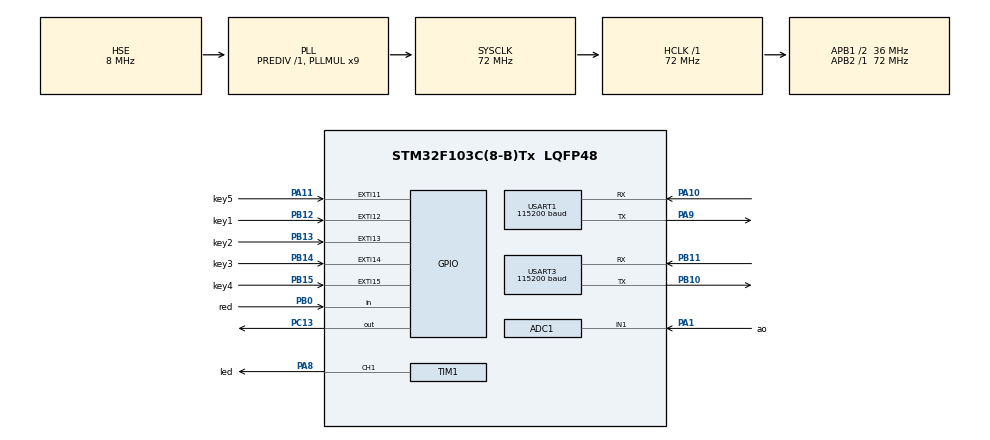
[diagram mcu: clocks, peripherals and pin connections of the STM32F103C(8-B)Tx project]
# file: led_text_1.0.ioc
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ADC1.Channel-0\#ChannelRegularConversion=ADC_CHANNEL_1
ADC1.ContinuousConvMode=DISABLE
ADC1.NbrOfConversionFlag=1
ADC1.Rank-0\#ChannelRegularConversion=1
ADC1.SamplingTime-0\#ChannelRegularConversion=ADC_SAMPLETIME_7CYCLES_5
ADC1.master=1
Dma.Request0=USART1_RX
Dma.Request1=USART1_TX
Dma.Request2=USART3_TX
Dma.Request3=USART3_RX
Dma.USART1_RX.0.Direction=DMA_PERIPH_TO_MEMORY
Dma.USART1_RX.0.Instance=DMA1_Channel5
Dma.USART1_RX.0.MemDataAlignment=DMA_MDATAALIGN_BYTE
Dma.USART1_RX.0.MemInc=DMA_MINC_ENABLE
Dma.USART1_RX.0.Mode=DMA_NORMAL
Dma.USART1_RX.0.PeriphDataAlignment=DMA_PDATAALIGN_BYTE
Dma.USART1_RX.0.PeriphInc=DMA_PINC_DISABLE
Dma.USART1_RX.0.Priority=DMA_PRIORITY_LOW
Dma.USART1_TX.1.Direction=DMA_MEMORY_TO_PERIPH
Dma.USART1_TX.1.Instance=DMA1_Channel4
Dma.USART1_TX.1.MemDataAlignment=DMA_MDATAALIGN_BYTE
Dma.USART1_TX.1.MemInc=DMA_MINC_ENABLE
Dma.USART1_TX.1.Mode=DMA_NORMAL
Dma.USART1_TX.1.PeriphDataAlignment=DMA_PDATAALIGN_BYTE
Dma.USART1_TX.1.PeriphInc=DMA_PINC_DISABLE
Dma.USART1_TX.1.Priority=DMA_PRIORITY_LOW
Dma.USART3_RX.3.Direction=DMA_PERIPH_TO_MEMORY
Dma.USART3_RX.3.Instance=DMA1_Channel3
Dma.USART3_RX.3.MemDataAlignment=DMA_MDATAALIGN_BYTE
Dma.USART3_RX.3.MemInc=DMA_MINC_ENABLE
Dma.USART3_RX.3.Mode=DMA_NORMAL
Dma.USART3_RX.3.PeriphDataAlignment=DMA_PDATAALIGN_BYTE
Dma.USART3_RX.3.PeriphInc=DMA_PINC_DISABLE
Dma.USART3_RX.3.Priority=DMA_PRIORITY_LOW
Dma.USART3_TX.2.Direction=DMA_MEMORY_TO_PERIPH
Dma.USART3_TX.2.Instance=DMA1_Channel2
Dma.USART3_TX.2.MemDataAlignment=DMA_MDATAALIGN_BYTE
Dma.USART3_TX.2.MemInc=DMA_MINC_ENABLE
Dma.USART3_TX.2.Mode=DMA_NORMAL
Dma.USART3_TX.2.PeriphDataAlignment=DMA_PDATAALIGN_BYTE
Dma.USART3_TX.2.PeriphInc=DMA_PINC_DISABLE
Dma.USART3_TX.2.Priority=DMA_PRIORITY_LOW
Mcu.Family=STM32F1
Mcu.Name=STM32F103C(8-B)Tx
Mcu.Package=LQFP48
NVIC.ADC1_2_IRQn=true\:4\:0\:true\:false\:true\:true\:true\:true
NVIC.DMA1_Channel2_IRQn=true\:0\:0\:false\:false\:true\:false\:true\:true
NVIC.DMA1_Channel3_IRQn=true\:0\:0\:false\:false\:true\:false\:true\:true
NVIC.DMA1_Channel4_IRQn=true\:0\:0\:false\:false\:true\:false\:true\:true
NVIC.DMA1_Channel5_IRQn=true\:0\:0\:false\:false\:true\:false\:true\:true
NVIC.EXTI15_10_IRQn=true\:5\:0\:true\:false\:true\:true\:true\:true
NVIC.PriorityGroup=NVIC_PRIORITYGROUP_4
NVIC.TIM1_BRK_IRQn=true\:0\:0\:false\:false\:true\:true\:true\:true
NVIC.TIM1_CC_IRQn=true\:0\:0\:false\:false\:true\:true\:true\:true
NVIC.TIM1_TRG_COM_IRQn=true\:0\:0\:false\:false\:true\:true\:true\:true
NVIC.TIM1_UP_IRQn=true\:2\:0\:true\:false\:true\:true\:true\:true
NVIC.TIM2_IRQn=true\:3\:0\:true\:false\:true\:true\:true\:true
NVIC.USART1_IRQn=true\:0\:0\:true\:false\:true\:true\:true\:true
NVIC.USART3_IRQn=true\:1\:0\:true\:false\:true\:true\:true\:true
PA0-WKUP.Mode=SYS_WakeUp0
PA0-WKUP.Signal=SYS_WKUP
PA1.GPIO_Label=ao
PA1.Signal=ADCx_IN1
PA10.Mode=Asynchronous
PA10.Signal=USART1_RX
PA11.GPIO_Label=key5
PA11.GPIO_ModeDefaultEXTI=GPIO_MODE_IT_FALLING
PA11.GPIO_PuPd=GPIO_PULLUP
PA11.Signal=GPXTI11
PA13.Mode=Serial_Wire
PA13.Signal=SYS_JTMS-SWDIO
PA14.Mode=Serial_Wire
PA14.Signal=SYS_JTCK-SWCLK
PA8.GPIO_Label=led
PA8.Signal=S_TIM1_CH1
PA9.Mode=Asynchronous
PA9.Signal=USART1_TX
PB0.GPIO_Label=red
PB0.Signal=GPIO_Input
PB10.Mode=Asynchronous
PB10.Signal=USART3_TX
PB11.Mode=Asynchronous
PB11.Signal=USART3_RX
PB12.GPIO_Label=key1
PB12.GPIO_ModeDefaultEXTI=GPIO_MODE_IT_FALLING
PB12.GPIO_PuPd=GPIO_PULLUP
PB12.Signal=GPXTI12
PB13.GPIO_Label=key2
PB13.GPIO_ModeDefaultEXTI=GPIO_MODE_IT_FALLING
PB13.GPIO_PuPd=GPIO_PULLUP
PB13.Signal=GPXTI13
PB14.GPIO_Label=key3
PB14.GPIO_ModeDefaultEXTI=GPIO_MODE_IT_FALLING
PB14.GPIO_PuPd=GPIO_PULLUP
PB14.Signal=GPXTI14
PB15.GPIO_Label=key4
PB15.GPIO_ModeDefaultEXTI=GPIO_MODE_IT_FALLING
PB15.GPIO_PuPd=GPIO_PULLUP
PB15.Signal=GPXTI15
PB6.Signal=I2C1_SCL
PB7.Signal=I2C1_SDA
PC13-TAMPER-RTC.PinState=GPIO_PIN_SET
PC13-TAMPER-RTC.Signal=GPIO_Output
PC14-OSC32_IN.Mode=LSE-External-Oscillator
PC14-OSC32_IN.Signal=RCC_OSC32_IN
PC15-OSC32_OUT.Mode=LSE-External-Oscillator
PC15-OSC32_OUT.Signal=RCC_OSC32_OUT
PD0-OSC_IN.Mode=HSE-External-Oscillator
PD0-OSC_IN.Signal=RCC_OSC_IN
PD1-OSC_OUT.Mode=HSE-External-Oscillator
PD1-OSC_OUT.Signal=RCC_OSC_OUT
ProjectManager.HeapSize=0x200
ProjectManager.StackSize=0x400
ProjectManager.TargetToolchain=STM32CubeIDE
RCC.ADCPresc=RCC_ADCPCLK2_DIV6
RCC.AHBFreq_Value=72000000
RCC.APB1CLKDivider=RCC_HCLK_DIV2
RCC.APB1Freq_Value=36000000
RCC.APB1TimFreq_Value=72000000
RCC.APB2Freq_Value=72000000
RCC.APB2TimFreq_Value=72000000
RCC.HCLKFreq_Value=72000000
RCC.PLLMUL=RCC_PLL_MUL9
RCC.PLLSourceVirtual=RCC_PLLSOURCE_HSE
RCC.SYSCLKFreq_VALUE=72000000
RCC.SYSCLKSource=RCC_SYSCLKSOURCE_PLLCLK
RCC.USBFreq_Value=72000000
SH.ADCx_IN1.0=ADC1_IN1,IN1
SH.S_TIM1_CH1.0=TIM1_CH1,PWM Generation1 CH1
TIM1.AutoReloadPreload=TIM_AUTORELOAD_PRELOAD_ENABLE
TIM1.Channel-PWM\ Generation1\ CH1=TIM_CHANNEL_1
TIM1.OCFastMode_PWM-PWM\ Generation1\ CH1=TIM_OCFAST_ENABLE
TIM1.OCPolarity_1=TIM_OCPOLARITY_HIGH
TIM1.Period=1000-1
TIM1.Prescaler=72-1
TIM1.Pulse-PWM\ Generation1\ CH1=led*10
TIM2.AutoReloadPreload=TIM_AUTORELOAD_PRELOAD_ENABLE
TIM2.Period=10000-1
TIM2.Prescaler=7200-1
USART1.BaudRate=115200
USART1.VirtualMode=VM_ASYNC
USART3.BaudRate=115200
USART3.VirtualMode=VM_ASYNC
VP_TIM1_VS_ClockSourceINT.Mode=Internal
VP_TIM2_VS_ClockSourceINT.Mode=Internal
board=custom

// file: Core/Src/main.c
/* USER CODE BEGIN Header */
/**
 ******************************************************************************
 * @file           : main.c
 * @brief          : Main program body
 ******************************************************************************
 * @attention
 *
 * Copyright (c) 2025 STMicroelectronics.
 * All rights reserved.
 *
 * This software is licensed under terms that can be found in the LICENSE file
 * in the root directory of this software component.
 * If no LICENSE file comes with this software, it is provided AS-IS.
 *
 ******************************************************************************
 */
/* USER CODE END Header */
#include "main.h"
#include "adc.h"
#include "dma.h"
#include "tim.h"
#include "usart.h"
#include "gpio.h"

/* USER CODE BEGIN Includes */
#include <stdio.h>
#include <string.h>
#include <PWM.h>
#include <RED.h>
#include <Bluetooth.h>
#include <adc.h>
#include <KEY.h>
#include <oled.h>

/* USER CODE END Includes */

/* USER CODE BEGIN PTD */

// 硬件配置宏定义
#define ENABLE_LOW_POWER      0  // 关闭低功耗

extern uint32_t led;
extern uint8_t red_state;
extern uint8_t led_state;
extern uint8_t key_con;
extern volatile uint8_t mode;
extern volatile uint8_t key5_state;
extern int value;
extern double voltage;
extern char message[64];
extern uint32_t i;
extern long int mean_value;
extern double mean_voltage;

volatile uint32_t Tim_time = 3610; //初始1小时
volatile uint32_t timerCounter = 0;     // 软件计数器（单位：秒）
volatile uint32_t targetCount = 10;   // 默认目标时间：3600秒=1小时
volatile uint32_t time_change=600;

volatile uint16_t rx_index = 0;  // 接收索引
volatile uint8_t frame_ready = 0;  // 帧完成标志

//接收区
//#define MAXSIZE 50
//#define RX3_BUF_SIZE 3
//#define RX1_BUF_SIZE 6

uint8_t uart3_rx_buf[8];
uint8_t uart1_rx_buf[8];

/* USER CODE END PTD */

void SystemClock_Config(void);

/* USER CODE BEGIN 0 */

/*
 * RX回调函数
 */
void HAL_UARTEx_RxEventCallback(UART_HandleTypeDef *huart, uint16_t Size)
{
    if (huart->Instance == USART1)
    {
        HAL_UART_Transmit_DMA(&huart1 , uart1_rx_buf , sizeof(uart1_rx_buf));
        if (uart1_rx_buf[0] == 0x40)
        {
            if (uart1_rx_buf[1] == 0x6F && uart1_rx_buf[2] == 0x70 && led_state == 0)
            {
                led = 50;
                hal_ledpwm(led); //调pwm波开灯
                led_state = 1;
                key_con = 1;
//                   memset(uart1_rx_buf,0,RX1_BUF_SIZE);
            }
            else if (uart1_rx_buf[1] == 0x63 && uart1_rx_buf[2] == 0x6c && led_state == 1)
            {
                led = 0;
                hal_ledpwm(led); //调pwm波关灯
                led_state = 0;
                key_con = 1;
//                   memset(uart1_rx_buf,0,RX1_BUF_SIZE);
            }
            else if (uart1_rx_buf[1] == 0x75 && uart1_rx_buf[2] == 0x70 && led_state == 1)
            {
                led +=5;
                hal_ledpwm(led);
//                   memset(uart1_rx_buf,0,RX1_BUF_SIZE);
            }
            else if (uart1_rx_buf[1] == 0x64 && uart1_rx_buf[2] == 0x6F && led_state == 1)
            {
                if (led == 0)
                {
                    led_state=0;
                }
                else
                {
                    led -=  5;
                }
                hal_ledpwm(led);
            }
        }
        HAL_UARTEx_ReceiveToIdle_DMA(&huart1 , uart1_rx_buf , sizeof(uart1_rx_buf));
    }

    if (huart->Instance == USART3)
    {
        // 检查起始字节是否为0xAA
        if (uart3_rx_buf[0] == 0xAA)
        {
            // 通过UART1非阻塞发送数据
            HAL_UART_Transmit_DMA(&huart1 , uart3_rx_buf , sizeof(uart3_rx_buf));
            if (uart3_rx_buf[1] == 0x01 && uart3_rx_buf[2] == 0x01 && led_state == 0)
            {
                led = 50;
                hal_ledpwm(led); //调pwm波开灯
                led_state = 1;
                key_con = 1;
//                memset(uart3_rx_buf, 0, 3);
            }
            else if (uart3_rx_buf[1] == 0x10 && uart3_rx_buf[2] == 0x10 && led_state == 1)
            {
                led = 0;
                hal_ledpwm(led); //调pwm波关灯
                led_state = 0;
                key_con = 1;
//                memset(uart3_rx_buf, 0, RX3_BUF_SIZE);

            }
            else if (uart3_rx_buf[1] == 0x10 && uart3_rx_buf[2] == 0x01 && led_state == 1)
            {
                led = led + 10;
                hal_ledpwm(led);
//                memset(uart3_rx_buf, 0, RX3_BUF_SIZE);
            }
            else if (uart3_rx_buf[1] == 0x01 && uart3_rx_buf[2] == 0x10 && led_state == 1)
            {
                if (led == 0)
                {
                    led_state=0;
                }
                else
                {
                    led = led - 10;
                }
                hal_ledpwm(led);
//                memset(uart3_rx_buf, 0, RX3_BUF_SIZE);
            }
        }

        // 重新启动接收
        HAL_UARTEx_ReceiveToIdle_DMA(&huart3 , uart3_rx_buf , sizeof(uart3_rx_buf));
    }
}

/*
 * TX回调函数
 */
void HAL_UARTEx_TxEventCallback(UART_HandleTypeDef *huart)
{
    if (huart->Instance == USART1)
    {
        memset(uart1_rx_buf , 0 , sizeof(uart1_rx_buf));  // 发送完成后清空
//        HAL_UART_Transmit_IT(&huart1 , uart1_rx_buf , RX1_BUF_SIZE);
    }
    if (huart->Instance == USART3)
    {
        memset(uart3_rx_buf , 0 , sizeof(uart3_rx_buf));  // 发送完成后清空
//        HAL_UART_Transmit_IT(&huart3 , uart3_rx_buf , RX3_BUF_SIZE);
    }

}

/*
 *  在中断中加入误差补偿（单位：微秒）
 */
//static int32_t error_compensation = 0;
void HAL_TIM_PeriodElapsedCallback(TIM_HandleTypeDef *htim)
{
    if (htim->Instance == TIM2)
    {
        if (htim->Instance == TIM2)
        {
            timerCounter++;                    // 每秒递增

            if (timerCounter >= targetCount)
            { // 达到目标时间
                timerCounter = 0;                // 重置计数器

                /* 用户自定义操作（示例：翻转LED） */
//                HAL_GPIO_TogglePin(GPIOC , GPIO_PIN_13); // 假设LED接在PC13
//                snprintf(message , sizeof(message) , "ADC:%ld V:%.2f i:%lu LED:%lu MODE:%u" , mean_value ,
//                        (float) mean_voltage , i , led , mode); // 直接发送数据
//                HAL_UART_Transmit(&huart1 , (uint8_t*) message , strnlen(message , sizeof(message)) , HAL_MAX_DELAY);
                if (key5_state == 1&&led_state==1)
                {
                    hal_ledpwm(0);
                    led_state = 0;
                    key5_state = 0;
                }

            }
        }
    }
}

/*
 * 动态调节定时时长
 */
void AdjustTimerDuration(uint32_t seconds)
{
    targetCount = seconds;    // 直接修改目标时间
    timerCounter = 0;          // 可选：重置当前计数
}

/* USER CODE END 0 */

int main(void)
{

  /* MCU Configuration--------------------------------------------------------*/

  /* Reset of all peripherals, Initializes the Flash interface and the Systick. */
  HAL_Init();

  /* Configure the system clock */
  SystemClock_Config();

  /* USER CODE BEGIN SysInit */
    // 检查HSI时钟状态
    if (__HAL_RCC_GET_FLAG(RCC_FLAG_HSIRDY) == RESET)
    {
        Error_Handler();
    }
  /* USER CODE END SysInit */

  /* Initialize all configured peripherals */
  MX_GPIO_Init();
  MX_DMA_Init();
  MX_ADC1_Init();
  MX_TIM1_Init();
  MX_TIM2_Init();
  MX_USART1_UART_Init();
  MX_USART3_UART_Init();
  /* USER CODE BEGIN 2 */

    HAL_ADCEx_Calibration_Start(&hadc1);

    HAL_UARTEx_ReceiveToIdle_DMA(&huart1 , uart1_rx_buf , sizeof(uart1_rx_buf));
    HAL_UARTEx_ReceiveToIdle_DMA(&huart3 , uart3_rx_buf , sizeof(uart3_rx_buf));

    HAL_TIM_Base_Start_IT(&htim2);

    HAL_ADC_Start_IT(&hadc1);

//    __HAL_UART_ENABLE_IT(&huart1, UART_IT_ERR);  // 启用错误中断（包括ORE）
//    __HAL_UART_ENABLE_IT(&huart3, UART_IT_ERR);  // 启用错误中断（包括ORE）
//    HAL_NVIC_SystemReset();  // HAL库封装的系统复位函数[9](@ref)
//    __HAL_UART_ENABLE_IT(&huart1 , UART_IT_IDLE);  // 开启空闲中断
//    __HAL_UART_ENABLE_IT(&huart3 , UART_IT_IDLE);  // 开启空闲中断
  /* USER CODE END 2 */

  /* Infinite loop */
  /* USER CODE BEGIN WHILE */
    while (1)
    {

        Manual_Control();

    /* USER CODE END WHILE */

    }
}

void SystemClock_Config(void)
{
  RCC_OscInitTypeDef RCC_OscInitStruct = {0};
  RCC_ClkInitTypeDef RCC_ClkInitStruct = {0};
  RCC_PeriphCLKInitTypeDef PeriphClkInit = {0};

  /** Initializes the RCC Oscillators according to the specified parameters
  * in the RCC_OscInitTypeDef structure.
  */
  RCC_OscInitStruct.OscillatorType = RCC_OSCILLATORTYPE_HSE;
  RCC_OscInitStruct.HSEState = RCC_HSE_ON;
  RCC_OscInitStruct.HSEPredivValue = RCC_HSE_PREDIV_DIV1;
  RCC_OscInitStruct.HSIState = RCC_HSI_ON;
  RCC_OscInitStruct.PLL.PLLState = RCC_PLL_ON;
  RCC_OscInitStruct.PLL.PLLSource = RCC_PLLSOURCE_HSE;
  RCC_OscInitStruct.PLL.PLLMUL = RCC_PLL_MUL9;
  if (HAL_RCC_OscConfig(&RCC_OscInitStruct) != HAL_OK)
  {
    Error_Handler();
  }

  /** Initializes the CPU, AHB and APB buses clocks
  */
  RCC_ClkInitStruct.ClockType = RCC_CLOCKTYPE_HCLK|RCC_CLOCKTYPE_SYSCLK
                              |RCC_CLOCKTYPE_PCLK1|RCC_CLOCKTYPE_PCLK2;
  RCC_ClkInitStruct.SYSCLKSource = RCC_SYSCLKSOURCE_PLLCLK;
  RCC_ClkInitStruct.AHBCLKDivider = RCC_SYSCLK_DIV1;
  RCC_ClkInitStruct.APB1CLKDivider = RCC_HCLK_DIV2;
  RCC_ClkInitStruct.APB2CLKDivider = RCC_HCLK_DIV1;

  if (HAL_RCC_ClockConfig(&RCC_ClkInitStruct, FLASH_LATENCY_2) != HAL_OK)
  {
    Error_Handler();
  }
  PeriphClkInit.PeriphClockSelection = RCC_PERIPHCLK_ADC;
  PeriphClkInit.AdcClockSelection = RCC_ADCPCLK2_DIV6;
  if (HAL_RCCEx_PeriphCLKConfig(&PeriphClkInit) != HAL_OK)
  {
    Error_Handler();
  }
}

void Error_Handler(void)
{
    __disable_irq();
    while (1)
    {
    }
}
